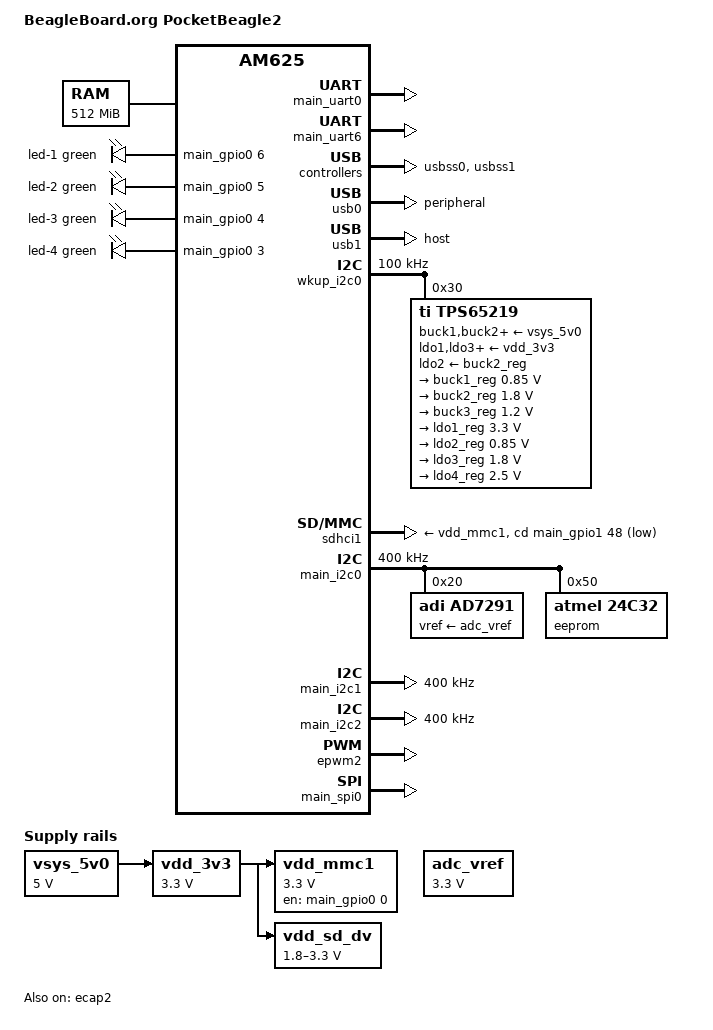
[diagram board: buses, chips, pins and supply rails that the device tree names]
// SPDX-License-Identifier: GPL-2.0-only OR MIT
/*
 * https://www.beagleboard.org/boards/pocketbeagle-2
 *
 * Copyright (C) 2024 Texas Instruments Incorporated - https://www.ti.com/
 * Copyright (C) 2024 Robert Nelson, BeagleBoard.org Foundation
 */

/dts-v1/;

#include <dt-bindings/leds/common.h>
#include <dt-bindings/gpio/gpio.h>
#include <dt-bindings/input/input.h>
#include "k3-am625.dtsi"
#include "k3-am6232-pocketbeagle2-pinmux.dtsi"

/ {
	compatible = "beagle,am6232-pocketbeagle2", "ti,am625";
	model = "BeagleBoard.org PocketBeagle2";

	aliases {
		serial0 = &wkup_uart0;
		serial1 = &main_uart1;
		serial2 = &main_uart6;
		serial3 = &main_uart3;
		serial4 = &main_uart4;
		serial5 = &main_uart5;
		serial6 = &main_uart2;
		serial7 = &main_uart0;
		mmc0 = &sdhci0;
		mmc1 = &sdhci1;
		usb0 = &usb0;
		usb1 = &usb1;
		i2c0 = &main_i2c0;
		i2c1 = &main_i2c1;
		i2c2 = &main_i2c2;
		i2c3 = &wkup_i2c0;
		spi0 = &main_spi2;
		spi1 = &main_spi0;
	};

	chosen {
		stdout-path = &main_uart6;
	};

	memory@80000000 {
		/* 512MB RAM */
		reg = <0x00000000 0x80000000 0x00000000 0x20000000>;
		device_type = "memory";
		bootph-pre-ram;
	};

	reserved_memory: reserved-memory {
		#address-cells = <2>;
		#size-cells = <2>;
		ranges;

		secure_tfa_ddr: tfa@9e780000 {
			reg = <0x00 0x9e780000 0x00 0x80000>;
			no-map;
		};

		secure_ddr: optee@9e800000 {
			reg = <0x00 0x9e800000 0x00 0x01800000>;
			no-map;
		};

		wkup_r5fss0_core0_dma_memory_region: r5f-dma-memory@9db00000 {
			compatible = "shared-dma-pool";
			reg = <0x00 0x9db00000 0x00 0xc00000>;
			no-map;
		};
	};

	vsys_5v0: regulator-1 {
		compatible = "regulator-fixed";
		regulator-name = "vsys_5v0";
		regulator-min-microvolt = <5000000>;
		regulator-max-microvolt = <5000000>;
		regulator-always-on;
		regulator-boot-on;
		bootph-all;
	};

	vdd_3v3: regulator-2 {
		compatible = "regulator-fixed";
		regulator-name = "vdd_3v3";
		regulator-min-microvolt = <3300000>;
		regulator-max-microvolt = <3300000>;
		vin-supply = <&vsys_5v0>;
		regulator-always-on;
		regulator-boot-on;
		bootph-all;
	};

	vdd_mmc1: regulator-3 {
		compatible = "regulator-fixed";
		regulator-name = "vdd_mmc1";
		pinctrl-names = "default";
		pinctrl-0 = <&vdd_3v3_sd_pins_default>;
		regulator-min-microvolt = <3300000>;
		regulator-max-microvolt = <3300000>;
		regulator-boot-on;
		enable-active-high;
		regulator-always-on;
		vin-supply = <&vdd_3v3>;
		gpio = <&main_gpio0 0 GPIO_ACTIVE_HIGH>;
		bootph-all;
	};

	vdd_sd_dv: regulator-4 {
		compatible = "regulator-gpio";
		regulator-name = "sd_hs200_switch";
		pinctrl-names = "default";
		pinctrl-0 = <&vdd_sd_dv_pins_default>;
		regulator-min-microvolt = <1800000>;
		regulator-max-microvolt = <3300000>;
		regulator-boot-on;
		vin-supply = <&vdd_3v3>;
		gpios = <&main_gpio1 49 GPIO_ACTIVE_HIGH>;
		states = <1800000 0x0>,
			 <3300000 0x1>;
		bootph-all;
	};

	adc_vref: regulator-5 {
		compatible = "regulator-fixed";
		regulator-name = "default";
		regulator-min-microvolt = <3300000>;
		regulator-max-microvolt = <3300000>;
		regulator-boot-on;
	};

	leds {
		bootph-all;
		compatible = "gpio-leds";
		pinctrl-names = "default";
		pinctrl-0 = <&led_pins_default>;

		led-1 {
			bootph-all;
			gpios = <&main_gpio0 6 GPIO_ACTIVE_HIGH>;
			color = <LED_COLOR_ID_GREEN>;
			linux,default-trigger = "heartbeat";
			function = LED_FUNCTION_HEARTBEAT;
			default-state = "on";
		};

		led-2 {
			bootph-all;
			gpios = <&main_gpio0 5 GPIO_ACTIVE_HIGH>;
			color = <LED_COLOR_ID_GREEN>;
			function = LED_FUNCTION_DISK_ACTIVITY;
			linux,default-trigger = "mmc1";
		};

		led-3 {
			bootph-all;
			gpios = <&main_gpio0 4 GPIO_ACTIVE_HIGH>;
			color = <LED_COLOR_ID_GREEN>;
		};

		led-4 {
			bootph-all;
			gpios = <&main_gpio0 3 GPIO_ACTIVE_HIGH>;
			color = <LED_COLOR_ID_GREEN>;
			function = LED_FUNCTION_INDICATOR;
			default-state = "off";
		};
	};
};

&main_pmx0 {
	led_pins_default: led-default-pins {
		pinctrl-single,pins = <
			AM62X_IOPAD(0x000c, PIN_OUTPUT, 7) /* (E25) OSPI0_D0.GPIO0_3 */
			AM62X_IOPAD(0x0010, PIN_OUTPUT, 7) /* (G24) OSPI0_D1.GPIO0_4 */
			AM62X_IOPAD(0x0014, PIN_OUTPUT, 7) /* (F25) OSPI0_D2.GPIO0_5 */
			AM62X_IOPAD(0x0018, PIN_OUTPUT, 7) /* (F24) OSPI0_D3.GPIO0_6 */
		>;
		bootph-all;
	};

	main_i2c0_pins_default: main-i2c0-default-pins {
		pinctrl-single,pins = <
			AM62X_IOPAD(0x01e0, PIN_INPUT_PULLUP, 0) /* (B16) I2C0_SCL */
			AM62X_IOPAD(0x01e4, PIN_INPUT_PULLUP, 0) /* (A16) I2C0_SDA */
		>;
		bootph-all;
	};

	main_i2c2_pins_default: main_i2c2-default-pins {
		pinctrl-single,pins = <
			AM62X_IOPAD(0x00b0, PIN_INPUT_PULLUP, 1) /* (K22) GPMC0_CSn2.I2C2_SCL */
			AM62X_IOPAD(0x00b4, PIN_INPUT_PULLUP, 1) /* (K24) GPMC0_CSn3.I2C2_SDA */
		>;
		bootph-all;
	};

	main_uart0_pins_default: main-uart0-default-pins {
		pinctrl-single,pins = <
			AM62X_IOPAD(0x1c8, PIN_INPUT, 0) /* (D14/A13) UART0_RXD */
			AM62X_IOPAD(0x1cc, PIN_OUTPUT, 0) /* (E14/E11) UART0_TXD */
		>;
		bootph-all;
	};

	main_uart1_pins_default: main-uart1-default-pins {
		pinctrl-single,pins = <
			AM62X_IOPAD(0x194, PIN_INPUT, 2) /* (B19/B18) MCASP0_AXR3.UART1_CTSn */
			AM62X_IOPAD(0x198, PIN_OUTPUT, 2) /* (A19/B17) MCASP0_AXR2.UART1_RTSn */
			AM62X_IOPAD(0x1ac, PIN_INPUT, 2) /* (E19/D15) MCASP0_AFSR.UART1_RXD */
			AM62X_IOPAD(0x1b0, PIN_OUTPUT, 2) /* (A20/D16) MCASP0_ACLKR.UART1_TXD */
		>;
		bootph-all;
	};

	main_uart6_pins_default: main-uart6-default-pins {
		pinctrl-single,pins = <
			AM62X_IOPAD(0x001c, PIN_INPUT, 3) /* (J23) OSPI0_D4.UART6_RXD */
			AM62X_IOPAD(0x0020, PIN_OUTPUT, 3) /* (J25) OSPI0_D5.UART6_TXD */
		>;
	};

	main_mmc1_pins_default: main-mmc1-default-pins {
		pinctrl-single,pins = <
			AM62X_IOPAD(0x23c, PIN_INPUT, 0) /* (A21/C18) MMC1_CMD */
			AM62X_IOPAD(0x234, PIN_INPUT, 0) /* (B22/A20) MMC1_CLK */
			AM62X_IOPAD(0x230, PIN_INPUT, 0) /* (A22/A19) MMC1_DAT0 */
			AM62X_IOPAD(0x22c, PIN_INPUT, 0) /* (B21/B19) MMC1_DAT1 */
			AM62X_IOPAD(0x228, PIN_INPUT, 0) /* (C21/B20) MMC1_DAT2 */
			AM62X_IOPAD(0x224, PIN_INPUT, 0) /* (D22/C19) MMC1_DAT3 */
			AM62X_IOPAD(0x240, PIN_INPUT, 7) /* (D17/C15) MMC1_SDCD.GPIO1_48 */
		>;
		bootph-all;
	};

	vdd_sd_dv_pins_default: vdd-sd-dv-default-pins {
		pinctrl-single,pins = <
			AM62X_IOPAD(0x0244, PIN_OUTPUT, 7) /* (P25) GPMC0_CLK.GPIO1_49 */
		>;
		bootph-all;
	};

	pmic_irq_pins_default: pmic-irq-default-pins {
		pinctrl-single,pins = <
			AM62X_IOPAD(0x01f4, PIN_INPUT_PULLUP, 0) /* (D16) EXTINTn */
		>;
		bootph-all;
	};

	vdd_3v3_sd_pins_default: vdd-3v3-sd-default-pins {
		pinctrl-single,pins = <
			AM62X_IOPAD(0x0000, PIN_OUTPUT, 7) /* (H24) OSPI0_CLK.GPIO0_0 */
		>;
		bootph-all;
	};

	usb1_pins_default: usb1-default-pins {
		pinctrl-single,pins = <
			AM62X_IOPAD(0x0258, PIN_INPUT, 0) /* (F18) USB1_DRVVBUS */
		>;
		bootph-all;
	};

	main_gpio0_pins_default: main-gpio0-default-pins {
		pinctrl-single,pins = <
			AM62X_IOPAD(0x00c8, PIN_INPUT, 7) /* (Y25) VOUT0_DATA4.GPIO0_49 */
			AM62X_IOPAD(0x00cc, PIN_INPUT, 7) /* (Y24) VOUT0_DATA5.GPIO0_50 */
			AM62X_IOPAD(0x00d0, PIN_INPUT, 7) /* (Y23) VOUT0_DATA6.GPIO0_51 */
			AM62X_IOPAD(0x00d4, PIN_INPUT, 7) /* (AA25) VOUT0_DATA7.GPIO0_52 */
			AM62X_IOPAD(0x00d8, PIN_INPUT, 7) /* (V21) VOUT0_DATA8.GPIO0_53 */
			AM62X_IOPAD(0x0100, PIN_INPUT, 7) /* (AC25) VOUT0_VSYNC.GPIO0_63 */
		>;
	};

	main_gpio1_pins_default: main-gpio1-default-pins {
		pinctrl-single,pins = <
			AM62X_IOPAD(0x01a0, PIN_INPUT, 7) /* (E18) MCASP0_AXR0.GPIO1_10 */
			AM62X_IOPAD(0x01a8, PIN_INPUT, 7) /* (D20) MCASP0_AFSX.GPIO1_12 */
			AM62X_IOPAD(0x0180, PIN_INPUT, 7) /* (AD23) RGMII2_RXC.GPIO1_2 */
		>;
	};

	main_spi2_pins_gpio: main-spi2-gpio-pins {
		pinctrl-single,pins = <
			AM62X_IOPAD(0x0194, PIN_INPUT, 7) /* (B19) MCASP0_AXR3.GPIO1_7 */
			AM62X_IOPAD(0x0198, PIN_INPUT, 7) /* (A19) MCASP0_AXR2.GPIO1_8 */
			AM62X_IOPAD(0x01ac, PIN_INPUT, 7) /* (E19) MCASP0_AFSR.GPIO1_13 */
			AM62X_IOPAD(0x01b0, PIN_INPUT, 7) /* (A20) MCASP0_ACLKR.GPIO1_14 */
		>;
	};

	epwm2_pins_default: epwm2-default-pins {
		pinctrl-single,pins = <
			AM62X_IOPAD(0x01e8, PIN_OUTPUT, 8) /* (B17) I2C1_SCL.EHRPWM2_A */
		>;
	};

	ecap2_pins_default: ecap2-default-pins {
		pinctrl-single,pins = <
			AM62X_IOPAD(0x01a4, PIN_INPUT, 2) /* (B20) MCASP0_ACLKX.ECAP2_IN_APWM_OUT */
			AM62X_IOPAD(0x0160, PIN_DISABLE, 7) /* (AD24) MDIO0_MDC.GPIO0_86 */
		>;
	};

	main_spi0_pins_default: main-spi0-default-pins {
		pinctrl-single,pins = <
			AM62X_IOPAD(0x01bc, PIN_INPUT, 0) /* (A14) SPI0_CLK */
			AM62X_IOPAD(0x01c0, PIN_OUTPUT, 0) /* (B13) SPI0_D0 */
			AM62X_IOPAD(0x01c4, PIN_INPUT, 0) /* (B14) SPI0_D1 */
			AM62X_IOPAD(0x01b4, PIN_OUTPUT, 0) /* (A13) SPI0_CS0 */
		>;
	};
};

&cpsw3g {
	status = "disabled";
};

&cpsw_port1 {
	status = "disabled";
};

&cpsw_port2 {
	status = "disabled";
};

&main_gpio0 {
	pinctrl-names = "default";
	pinctrl-0 = <&main_gpio0_pins_default>;
	status = "okay";
};

&main_gpio1 {
	pinctrl-names = "default";
	pinctrl-0 = <&main_gpio1_pins_default>;
	status = "okay";
};

&mcu_gpio0 {
	pinctrl-names = "default";
	status = "okay";
};

&main_uart0 {
	pinctrl-names = "default";
	pinctrl-0 = <&main_uart0_pins_default>;
	bootph-all;
	status = "okay";
};

&main_uart1 {
	pinctrl-names = "default";
	pinctrl-0 = <&main_uart1_pins_default>;
	bootph-pre-ram;
	status = "reserved";
};

&main_uart6 {
	pinctrl-names = "default";
	pinctrl-0 = <&main_uart6_pins_default>;
	bootph-all;
	status = "okay";
};

&mcu_pmx0 {
	wkup_uart0_pins_default: wkup-uart0-default-pins {
		pinctrl-single,pins = <
			AM62X_MCU_IOPAD(0x02c, PIN_INPUT, 0)	/* (C6/A7) WKUP_UART0_CTSn */
			AM62X_MCU_IOPAD(0x030, PIN_OUTPUT, 0)	/* (A4/B4) WKUP_UART0_RTSn */
			AM62X_MCU_IOPAD(0x024, PIN_INPUT, 0)	/* (B4/B5) WKUP_UART0_RXD */
			AM62X_MCU_IOPAD(0x028, PIN_OUTPUT, 0)	/* (C5/C6) WKUP_UART0_TXD */
		>;
		bootph-all;
	};

	wkup_i2c0_pins_default: wkup-i2c0-default-pins {
		pinctrl-single,pins = <
			AM62X_MCU_IOPAD(0x004c, PIN_INPUT_PULLUP, 0)	/* (B9) WKUP_I2C0_SCL */
			AM62X_MCU_IOPAD(0x0050, PIN_INPUT_PULLUP, 0)	/* (A9) WKUP_I2C0_SDA */
		>;
		bootph-all;
	};
};

&usbss0 {
	bootph-all;
	ti,vbus-divider;
	status = "okay";
};

&usb0 {
	bootph-all;
	dr_mode = "peripheral";
};

&usbss1 {
	ti,vbus-divider;
	status = "okay";
};

&usb1 {
	dr_mode = "host";
	pinctrl-names = "default";
	pinctrl-0 = <&usb1_pins_default>;
};

&wkup_uart0 {
	/* WKUP UART0 is used by Device Manager firmware */
	pinctrl-names = "default";
	pinctrl-0 = <&wkup_uart0_pins_default>;
	bootph-all;
	status = "reserved";
};

&wkup_i2c0 {
	pinctrl-names = "default";
	pinctrl-0 = <&wkup_i2c0_pins_default>;
	clock-frequency = <100000>;
	bootph-all;
	status = "okay";

	tps65219: pmic@30 {
		compatible = "ti,tps65219";
		reg = <0x30>;
		buck1-supply = <&vsys_5v0>;
		buck2-supply = <&vsys_5v0>;
		buck3-supply = <&vsys_5v0>;
		ldo1-supply = <&vdd_3v3>;
		ldo2-supply = <&buck2_reg>;
		ldo3-supply = <&vdd_3v3>;
		ldo4-supply = <&vdd_3v3>;

		pinctrl-names = "default";
		pinctrl-0 = <&pmic_irq_pins_default>;
		interrupt-parent = <&gic500>;
		interrupts = <GIC_SPI 224 IRQ_TYPE_LEVEL_HIGH>;
		interrupt-controller;
		#interrupt-cells = <1>;

		bootph-all;
		system-power-controller;
		ti,power-button;

		regulators {
			buck1_reg: buck1 {
				regulator-name = "VDD_CORE";
				regulator-min-microvolt = <850000>;
				regulator-max-microvolt = <850000>;
				regulator-boot-on;
				regulator-always-on;
			};

			buck2_reg: buck2 {
				regulator-name = "VDD_1V8";
				regulator-min-microvolt = <1800000>;
				regulator-max-microvolt = <1800000>;
				regulator-boot-on;
				regulator-always-on;
			};

			buck3_reg: buck3 {
				regulator-name = "VDD_1V2";
				regulator-min-microvolt = <1200000>;
				regulator-max-microvolt = <1200000>;
				regulator-boot-on;
				regulator-always-on;
			};

			ldo1_reg: ldo1 {
				/*
				 * Regulator is left as is unused, vdd_sd
				 * is controlled via GPIO with bypass config
				 * as per the NVM configuration
				 */
				regulator-name = "VDD_SD_3V3";
				regulator-min-microvolt = <3300000>;
				regulator-max-microvolt = <3300000>;
				regulator-allow-bypass;
				regulator-boot-on;
				regulator-always-on;
			};

			ldo2_reg: ldo2 {
				regulator-name = "VDDA_0V85";
				regulator-min-microvolt = <850000>;
				regulator-max-microvolt = <850000>;
				regulator-boot-on;
				regulator-always-on;
			};

			ldo3_reg: ldo3 {
				regulator-name = "VDDA_1V8";
				regulator-min-microvolt = <1800000>;
				regulator-max-microvolt = <1800000>;
				regulator-boot-on;
				regulator-always-on;
			};

			ldo4_reg: ldo4 {
				regulator-name = "VDD_2V5";
				regulator-min-microvolt = <2500000>;
				regulator-max-microvolt = <2500000>;
				regulator-boot-on;
				regulator-always-on;
			};
		};
	};
};

&sdhci1 {
	/* SD/MMC */
	vmmc-supply = <&vdd_mmc1>;
	vqmmc-supply = <&vdd_sd_dv>;
	pinctrl-names = "default";
	pinctrl-0 = <&main_mmc1_pins_default>;
	disable-wp;
	cd-gpios = <&main_gpio1 48 GPIO_ACTIVE_LOW>;
	cd-debounce-delay-ms = <100>;
	bootph-all;
	ti,fails-without-test-cd;
	status = "okay";
};

&main_i2c0 {
	pinctrl-names = "default";
	pinctrl-0 = <&main_i2c0_pins_default>;
	clock-frequency = <400000>;
	bootph-all;
	status = "okay";

	ad7291: adc@20 {
		compatible = "adi,ad7291";
		reg = <0x20>;
		vref-supply = <&adc_vref>;
	};

	eeprom: eeprom@50 {
		compatible = "atmel,24c32";
		reg = <0x50>;
	};
};

&main_i2c1 {
	clock-frequency = <400000>;
	bootph-all;
	status = "okay";
};

&main_i2c2 {
	pinctrl-names = "default";
	pinctrl-0 = <&main_i2c2_pins_default>;
	clock-frequency = <400000>;
	bootph-all;
	status = "okay";
};

&epwm2 {
	status = "okay";
	pinctrl-names = "default";
	pinctrl-0 = <&epwm2_pins_default>;
};

&ecap2 {
	status = "okay";
	pinctrl-names = "default";
	pinctrl-0 = <&ecap2_pins_default>;
};

&main_spi0 {
	status = "okay";
	pinctrl-names = "default";
	pinctrl-0 = <&main_spi0_pins_default>;
};
